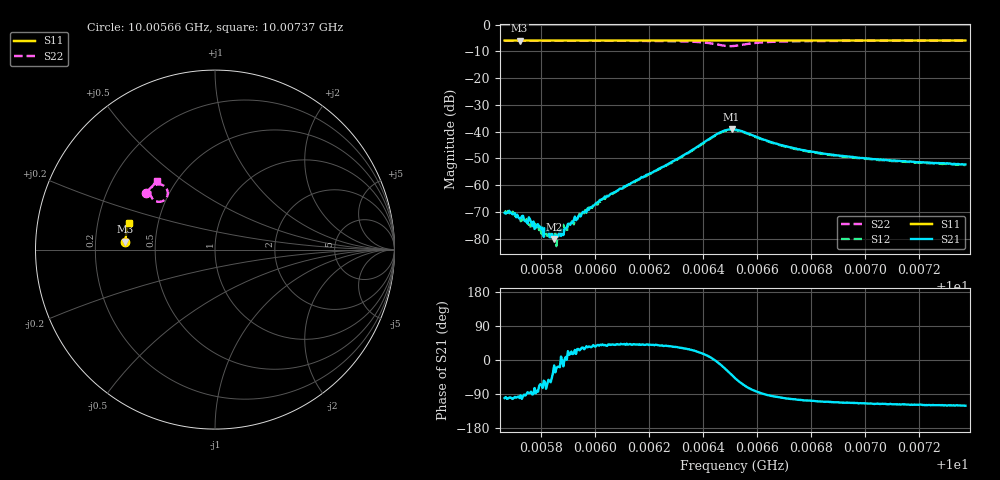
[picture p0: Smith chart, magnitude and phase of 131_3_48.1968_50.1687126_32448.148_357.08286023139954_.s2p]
#  HZ  S  RI  R  50.00
! Rohde & Schwarz Vector Network Analyzer
! Rohde-Schwarz,ZNB20-2Port,1311601062101988,3.16
! Created: UTC 3/20/2024, 11:41:55 AM
! freq[Hz]  re:S11  im:S11  re:S21  im:S21  re:S12  im:S12  re:S22  im:S22
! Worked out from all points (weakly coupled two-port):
!   401 points, 10.00566 GHz to 10.00737 GHz, reference 50 ohm
!   highest |S21| = -39.17 dB at 10.00651 GHz (marker M1); lowest = -80.2 dB at 10.00585 GHz (marker M2)
!   lowest |S11| = -6.0 dB at 10.00572 GHz (marker M3), VSWR 3.01, Z = 16.7 + j1.98 ohm
!   |S11| at or under -10 dB: nowhere
!   |S22| runs from -8.1 to -6.0 dB; largest |S21 - S12| = 0.00064
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1.0005664e10  -0.4994 0.0408  -5.47e-05 -0.000298  -5.36e-05 -0.000327  -0.3829 0.3173
1.0005689e10  -0.4992 0.0424  -5.57e-05 -0.000288  -1.31e-05 -0.000278  -0.3816 0.3188
1.0005719e10  -0.4989 0.0444  -4.22e-05 -0.000231  -1.82e-05 -0.000253  -0.3801 0.3206
1.0005762e10  -0.4989 0.0472  2.25e-05 -0.000201  1.42e-06 -0.000186  -0.3781 0.3231
1.0005771e10  -0.4988 0.0477  1.64e-06 -0.000208  2.52e-05 -0.000154  -0.3775 0.3239
1.000583e10  -0.4987 0.0517  6.07e-05 -8.71e-05  9.65e-05 -8.4e-05  -0.3747 0.3276
1.0005839e10  -0.4985 0.0523  8.45e-05 -9.07e-05  8.05e-05 -5.24e-05  -0.3741 0.3281
1.0005848e10  -0.4985 0.0527  9.47e-05 -2.42e-05  7.94e-05 -6.21e-05  -0.3736 0.3287
1.0005865e10  -0.4985 0.0539  0.000116 -3.67e-05  0.000107 -3.39e-05  -0.3728 0.3298
1.0005882e10  -0.4984 0.0549  0.000111 -3.37e-05  0.000175 4.78e-05  -0.3717 0.3309
1.0005907e10  -0.4983 0.0566  0.000174 4.85e-05  0.000199 7.35e-05  -0.3701 0.3324
1.0005929e10  -0.4981 0.058  0.000211 6.08e-05  0.000195 7.97e-05  -0.3689 0.334
1.000595e10  -0.498 0.0594  0.000245 0.000156  0.000223 0.00017  -0.3676 0.3354
1.0006027e10  -0.4975 0.0643  0.000415 0.000362  0.000411 0.00034  -0.3623 0.3407
1.0006236e10  -0.4957 0.078  0.00159 0.00126  0.00147 0.00128  -0.3407 0.3569
1.0006454e10  -0.4931 0.0919  0.00906 -0.00101  0.00892 -0.000483  -0.2651 0.3292
1.0006506e10  -0.4926 0.0945  0.00852 -0.00695  0.00867 -0.00636  -0.282 0.2762
1.0006518e10  -0.4924 0.0952  0.0073 -0.00806  0.00753 -0.00751  -0.295 0.2691
1.0006681e10  -0.4914 0.1056  -0.000814 -0.00566  -0.00055 -0.00562  -0.3603 0.3174
1.0006805e10  -0.4902 0.1135  -0.00128 -0.00398  -0.00109 -0.00395  -0.3551 0.3402
1.0007091e10  -0.4862 0.1317  -0.00129 -0.00262  -0.00111 -0.00262  -0.3387 0.3661
1.0007373e10  -0.4817 0.1494  -0.00124 -0.00209  -0.0011 -0.00208  -0.3235 0.3826
